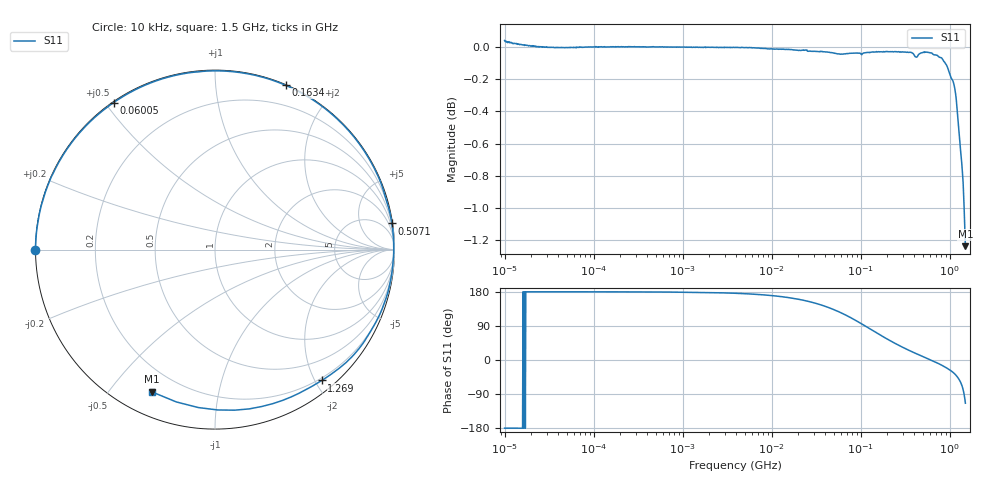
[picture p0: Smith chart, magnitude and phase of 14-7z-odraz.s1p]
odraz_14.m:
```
clear all
close all
clc

%% Load data
sparam = sparameters('mereni/14-7z-odraz.s1p');

Z0 = sparam.Impedance;
s11 = reshape(sparam.Parameters, [],1);
f=sparam.Frequencies;

zparam = s2z(s11, Z0);



ZL = Z0*((1+s11)./(1-s11));

%% Fit
Lx=2.8e-10;
Rx=0.08e-3;
Cp=6e-10;
Rp=1000;

ZL_fit = 1 ./ (1./(1i*2*pi()*f*Lx+Rx)+1./(1./(1i*2*pi()*f*Cp))+1/Rp);

s11_estim = (ZL_fit-Z0)./(ZL_fit+Z0);

sparam_fit = sparameters(s11_estim, f, Z0);

%% Plot
fig=figure('Name','Impedance','NumberTitle','off');
loglog(f/1e9,abs(ZL)/1e3,  'r', f/1e9,abs(ZL_fit)/1e3,'b')
legend('ZNB','Model','Location', 'Best')
xlabel('f [GHz]'), ylabel('|Z| [k\Omega]')
grid on
saveas(fig, 'res/14.png')
```
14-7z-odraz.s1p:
#  HZ  S  DB  R  50.00
! Rohde & Schwarz Vector Network Analyzer
! Rohde-Schwarz,ZNB8-4Port,1334333044101560,3.32
! Created: UTC 3/21/2023, 5:28:15 PM
! freq[Hz]  db:S11  ang:S11
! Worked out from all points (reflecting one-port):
!   1001 points, 10 kHz to 1.5 GHz, reference 50 ohm
!   lowest |S11| = -1.2 dB at 1.5 GHz (marker M1), VSWR 14.06, Z = 5.04 - j32.2 ohm
!   phase of S11 starts at -180 deg and turns -294 deg over the sweep
!   S11 on the Smith chart (normalised r, x): 10 kHz: -0.00, -0.00; 60.05 MHz: 0.00, +0.52; 163.4 MHz: 0.01, +1.52; 507.1 MHz: 0, +14; 1.269 GHz: 0.16, -2.10; 1.5 GHz: 0.10, -0.64
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10000  0.04 -179.9
535567.8  0.00 179.4
6621704  -0.01 173.4
2.834346e7  -0.03 152.3
6.005465e7  -0.04 124.6
1.026764e8  -0.05 95.3
1.634324e8  -0.03 66.8
2.827734e8  -0.03 35.9
5.070689e8  -0.03 8.4
9.201773e8  -0.11 -20.8
1.113497e9  -0.23 -34.5
1.26948e9  -0.53 -50.8
1.363586e9  -0.72 -65.8
1.5e9  -1.24 -114.0
